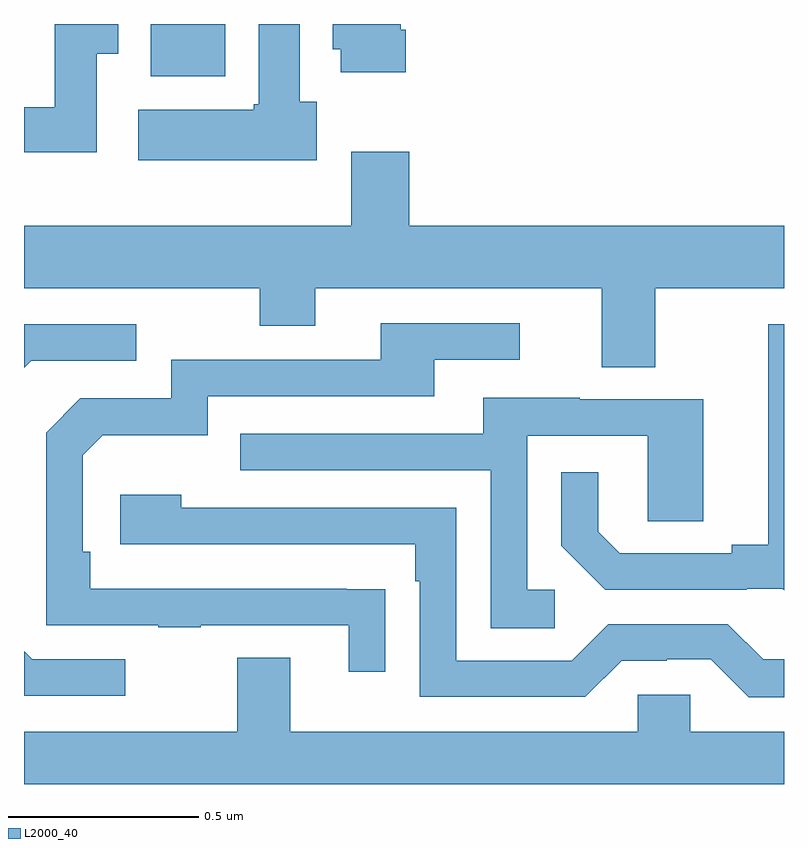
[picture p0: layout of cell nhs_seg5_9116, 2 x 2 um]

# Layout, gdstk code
import gdstk
lib = gdstk.Library(unit=1e-6, precision=1e-09)
def R(c, l, rs):  # rectangles x0, y0, x1, y1
    for r in rs: c.add(gdstk.rectangle(r[:2], r[2:], *l))
def P(c, l, *ps):  # polygons
    for p in ps: c.add(gdstk.Polygon(p, *l))
L2000_40 = (2000, 40)

nhs_seg5_9116 = lib.new_cell('nhs_seg5_9116')
R(nhs_seg5_9116, L2000_40, [(230.333,846.662,230.53,846.799)])
P(nhs_seg5_9116, L2000_40, [(231.005,846.784),(230.992,846.784),(230.992,846.799),(230.813,846.799),(230.813,846.732),(230.834,846.732),(230.834,846.672),(231.005,846.672)],
  [(230.191,846.721),(230.248,846.721),(230.248,846.799),(230.081,846.799),(230.081,846.58),(230,846.58),(230,846.462),(230.191,846.462)],
  [(230.77,846.594),(230.725,846.594),(230.725,846.799),(230.618,846.799),(230.618,846.588),(230.605,846.588),(230.605,846.574),(230.301,846.574),(230.301,846.44),(230.77,846.44)],
  [(231.661,846.104),(232,846.104),(232,846.268),(231.014,846.268),(231.014,846.463),(230.861,846.463),(230.861,846.268),(230,846.268),(230,846.104),(230.62,846.104),(230.62,846.005),(230.767,846.005),(230.767,846.104),(231.521,846.104),(231.521,845.896),(231.661,845.896)],
  [(230.951,845.312),(230.849,845.312),(230.849,845.313),(230.174,845.313),(230.174,845.41),(230.154,845.41),(230.154,845.664),(230.207,845.717),(230.484,845.717),(230.484,845.82),(231.079,845.82),(231.079,845.916),(231.304,845.916),(231.304,846.012),(230.939,846.012),(230.939,845.916),(230.388,845.916),(230.388,845.814),(230.148,845.814),(230.058,845.724),(230.058,845.217),(230.353,845.217),(230.353,845.212),(230.465,845.212),(230.465,845.217),(230.855,845.217),(230.855,845.094),(230.951,845.094)],
  [(232,846.009),(231.959,846.009),(231.959,845.429),(231.863,845.429),(231.863,845.406),(231.568,845.406),(231.511,845.463),(231.511,845.62),(231.414,845.62),(231.414,845.426),(231.53,845.31),(231.902,845.31),(231.902,845.313),(231.996,845.313),(232,845.309)],
  [(230.019,845.913),(230.296,845.913),(230.296,846.009),(230,846.009),(230,845.894)],
  [(231.397,845.31),(231.324,845.31),(231.324,845.715),(231.642,845.715),(231.642,845.491),(231.787,845.491),(231.787,845.811),(231.463,845.811),(231.463,845.815),(231.209,845.815),(231.209,845.721),(230.569,845.721),(230.569,845.625),(231.228,845.625),(231.228,845.209),(231.397,845.209)],
  [(232,845.127),(231.945,845.127),(231.852,845.22),(231.537,845.22),(231.441,845.124),(231.138,845.124),(231.138,845.526),(230.414,845.526),(230.414,845.56),(230.253,845.56),(230.253,845.43),(231.029,845.43),(231.029,845.333),(231.042,845.333),(231.042,845.028),(231.477,845.028),(231.573,845.124),(231.692,845.124),(231.692,845.127),(231.807,845.127),(231.907,845.027),(232,845.027)],
  [(230.266,845.127),(230.022,845.127),(230,845.149),(230,845.031),(230.266,845.031)],
  [(232,844.936),(231.753,844.936),(231.753,845.034),(231.615,845.034),(231.615,844.936),(230.701,844.936),(230.701,845.131),(230.561,845.131),(230.561,844.936),(230,844.936),(230,844.799),(232,844.799)])

lib.write_gds('nhs_seg5_9116.gds')
